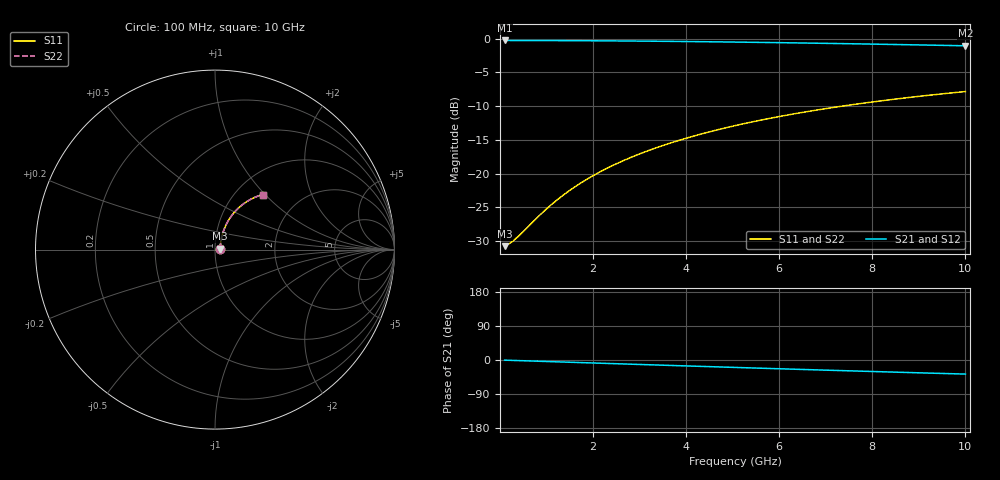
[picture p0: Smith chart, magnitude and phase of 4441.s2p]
# Hz S RI R 50.00
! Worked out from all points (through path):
!   100 points, 100 MHz to 10 GHz, reference 50 ohm
!   highest |S21| = -0.25 dB at 100 MHz (marker M1); lowest = -1.0 dB at 10 GHz (marker M2)
!   group delay of S21, straight-line fit = 10.4 ps
!   lowest |S11| = -30.8 dB at 100 MHz (marker M3), VSWR 1.06, Z = 52.9 + j0.469 ohm
!   |S11| at or under -10 dB: start of sweep to 7.347 GHz
!   |S22| runs from -30.8 to -7.8 dB; largest |S21 - S12| = 0
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1e8  0.0286 0.00443  0.9713 -0.00669  0.9713 -0.00669  0.0286 0.00443
2e8  0.0289 0.00885  0.9711 -0.0134  0.9711 -0.0134  0.0289 0.00885
3e8  0.0292 0.0133  0.9708 -0.0201  0.9708 -0.0201  0.0292 0.0133
4e8  0.0295 0.0177  0.9704 -0.0267  0.9704 -0.0267  0.0295 0.0177
9e8  0.0319 0.0397  0.9679 -0.06  0.9679 -0.06  0.0319 0.0397
1.2e9  0.034 0.0527  0.9656 -0.0799  0.9656 -0.0799  0.034 0.0527
1.5e9  0.0365 0.0657  0.9628 -0.0997  0.9628 -0.0997  0.0365 0.0657
1.8e9  0.0396 0.0785  0.9595 -0.1193  0.9595 -0.1193  0.0396 0.0785
2.1e9  0.0432 0.0911  0.9556 -0.1387  0.9556 -0.1387  0.0432 0.0911
2.5e9  0.0488 0.1077  0.9495 -0.1644  0.9495 -0.1644  0.0488 0.1077
2.9e9  0.0552 0.1239  0.9425 -0.1897  0.9425 -0.1897  0.0552 0.1239
3.4e9  0.0644 0.1435  0.9325 -0.2206  0.9325 -0.2206  0.0644 0.1435
3.8e9  0.0727 0.1586  0.9235 -0.2448  0.9235 -0.2448  0.0727 0.1586
4.2e9  0.0817 0.1731  0.9136 -0.2685  0.9136 -0.2685  0.0817 0.1731
4.6e9  0.0914 0.1871  0.903 -0.2916  0.903 -0.2916  0.0914 0.1871
5.1e9  0.1044 0.2037  0.8887 -0.3196  0.8887 -0.3196  0.1044 0.2037
5.9e9  0.1271 0.228  0.8636 -0.3623  0.8636 -0.3623  0.1271 0.228
6.7e9  0.1518 0.2495  0.8362 -0.4022  0.8362 -0.4022  0.1518 0.2495
7.5e9  0.1781 0.2681  0.8068 -0.4392  0.8068 -0.4392  0.1781 0.2681
8.4e9  0.209 0.2853  0.772 -0.4773  0.772 -0.4773  0.209 0.2853
9.2e9  0.2374 0.2975  0.7397 -0.5081  0.7397 -0.5081  0.2374 0.2975
1e10  0.2661 0.3067  0.7067 -0.536  0.7067 -0.536  0.2661 0.3067
